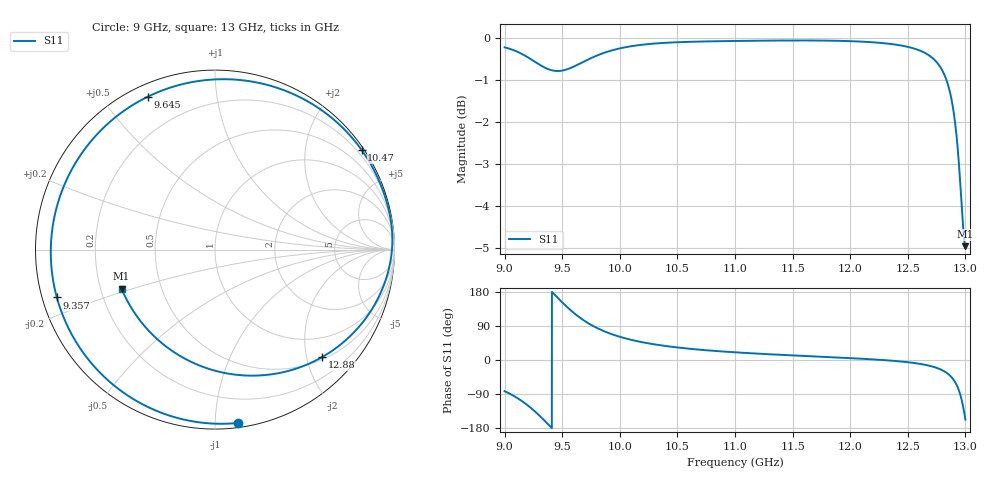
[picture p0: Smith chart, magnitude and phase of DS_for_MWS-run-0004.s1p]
! TOUCHSTONE file generated by CST DESIGN STUDIO
! Date and time: Tue Feb  4 16:43:47 2025
! Project name: C:\Work\MatlabApps\UnitCellOptimizationMatlab\CST\unitcell.cst
! Tree item: Tasks\Sweep1\SPara1\S-Parameters
! Header version: 2024
! Port assignment regex: !\s*Touchstone port\s*([0-9]+)\s*=\s*(CST MWS port|CST DES external port|CST DES block port)\s*(.+)\s* \(\"(.*)\"\)(\s*mode\s*([0-9]+))?.*
! Touchstone port assignment:
! Touchstone port 1 = CST DES external port 1 ("")
# GHz S MA R 50
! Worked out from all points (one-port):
!   4001 points, 9 GHz to 13 GHz, reference 50 ohm
!   lowest |S11| = -5.0 dB at 13 GHz (marker M1), VSWR 3.59, Z = 14.4 - j9.22 ohm
!   |S11| at or under -10 dB: nowhere
!   S11 on the Smith chart (normalised r, x): 9 GHz: 0.03, -1.14; 9.357 GHz: 0.04, -0.15; 9.645 GHz: 0.05, +0.65; 10.47 GHz: 0.07, +3.25; 12.88 GHz: 0.55, -2.29; 13 GHz: 0.29, -0.18
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9  0.9744 -82.3
9.106  0.9634 -99.6
9.192  0.9498 -117.7
9.272  0.9349 -138.1
9.357  0.9205 -163.2
9.427  0.9139 174.8
9.5  0.9142 152.1
9.572  0.9206 131.7
9.645  0.9306 113.7
9.785  0.9506 87.1
9.888  0.9623 72.9
10  0.9716 61.2
10.204  0.9818 46.4
10.469  0.9878 34.2
10.5  0.9882 33.1
11  0.9917 20.3
11.5  0.993 12.1
12  0.9912 5.0
12.5  0.9757 -5.8
12.645  0.9602 -12.3
12.756  0.9337 -21.3
12.827  0.8972 -31.8
12.879  0.8453 -45.2
12.916  0.7806 -61.2
12.949  0.6917 -84.9
12.969  0.6267 -106.9
12.986  0.58 -132.2
13  0.5644 -157.3
